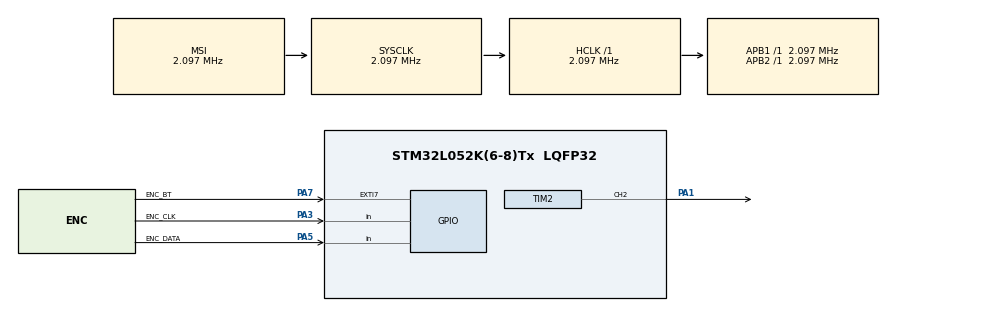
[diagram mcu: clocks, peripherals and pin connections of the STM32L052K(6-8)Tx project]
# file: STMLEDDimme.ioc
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Mcu.Family=STM32L0
Mcu.Name=STM32L052K(6-8)Tx
Mcu.Package=LQFP32
NVIC.EXTI4_15_IRQn=true\:0\:0\:false\:false\:true\:true\:true
NVIC.TIM2_IRQn=true\:0\:0\:false\:false\:true\:true\:true
PA1.Signal=S_TIM2_CH2
PA3.GPIO_Label=ENC_CLK
PA3.GPIO_PuPd=GPIO_PULLUP
PA3.Signal=GPIO_Input
PA5.GPIO_Label=ENC_DATA
PA5.GPIO_PuPd=GPIO_PULLUP
PA5.Signal=GPIO_Input
PA7.GPIO_Label=ENC_BT
PA7.GPIO_ModeDefaultEXTI=GPIO_MODE_IT_FALLING
PA7.GPIO_PuPd=GPIO_PULLUP
PA7.Signal=GPXTI7
ProjectManager.HeapSize=0x200
ProjectManager.StackSize=0x400
ProjectManager.TargetToolchain=STM32CubeIDE
RCC.AHBFreq_Value=2097000
RCC.APB1Freq_Value=2097000
RCC.APB1TimFreq_Value=2097000
RCC.APB2Freq_Value=2097000
RCC.APB2TimFreq_Value=2097000
RCC.HCLKFreq_Value=2097000
RCC.HSI16_VALUE=16000000
RCC.HSI48_VALUE=48000000
RCC.HSI_VALUE=16000000
RCC.LSE_VALUE=32768
RCC.MSI_VALUE=2097000
RCC.SYSCLKFreq_VALUE=2097000
RCC.VCOOutputFreq_Value=48000000
SH.S_TIM2_CH2.0=TIM2_CH2,PWM Generation2 CH2
TIM2.Channel-PWM\ Generation2\ CH2=TIM_CHANNEL_2
TIM2.Period=1000
TIM2.Prescaler=0
board=custom

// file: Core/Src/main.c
/* USER CODE BEGIN Header */
/**
  ******************************************************************************
  * @file           : main.c
  * @brief          : Main program body
  ******************************************************************************
  * @attention
  *
  * <h2><center>&copy; Copyright (c) 2020 STMicroelectronics.
  * All rights reserved.</center></h2>
  *
  * This software component is licensed by ST under BSD 3-Clause license,
  * the "License"; You may not use this file except in compliance with the
  * License. You may obtain a copy of the License at:
  *                        opensource.org/licenses/BSD-3-Clause
  *
  ******************************************************************************
  */
/* USER CODE END Header */
#include "main.h"

/* USER CODE BEGIN PD */
#define DEBOUNCE_TICKCOUNT 500 //1Tick = 1/1000 of CLK = ~2ms
/* USER CODE END PD */

TIM_HandleTypeDef htim2;

/* USER CODE BEGIN PV */
uint16_t debounceCounter = 0;//for debouncing button
uint8_t prevState = 0x11;//state is data<<4||clk, chosen to be easy to read
uint8_t stateCounter = 0;
uint8_t fwSequence[] = {0x11,0x01,0x00,0x10,0x11};
uint8_t bwSequence[] = {0x11,0x10,0x00,0x01,0x11};

int16_t pwmSet = 0;
uint8_t freqDivCnt = 0;

/* USER CODE END PV */

void SystemClock_Config(void);
static void MX_GPIO_Init(void);
static void MX_TIM2_Init(void);

int main(void)
{

  /* MCU Configuration--------------------------------------------------------*/

  /* Reset of all peripherals, Initializes the Flash interface and the Systick. */
  HAL_Init();

  /* Configure the system clock */
  SystemClock_Config();

  /* Initialize all configured peripherals */
  MX_GPIO_Init();
  MX_TIM2_Init();
  /* USER CODE BEGIN 2 */

  HAL_TIM_PWM_Start_IT(&htim2, TIM_CHANNEL_2);
  /* USER CODE END 2 */

  /* Infinite loop */
  while (1)
  {

  }
}

void SystemClock_Config(void)
{
  RCC_OscInitTypeDef RCC_OscInitStruct = {0};
  RCC_ClkInitTypeDef RCC_ClkInitStruct = {0};

  /** Configure the main internal regulator output voltage
  */
  __HAL_PWR_VOLTAGESCALING_CONFIG(PWR_REGULATOR_VOLTAGE_SCALE1);
  /** Initializes the RCC Oscillators according to the specified parameters
  * in the RCC_OscInitTypeDef structure.
  */
  RCC_OscInitStruct.OscillatorType = RCC_OSCILLATORTYPE_MSI;
  RCC_OscInitStruct.MSIState = RCC_MSI_ON;
  RCC_OscInitStruct.MSICalibrationValue = 0;
  RCC_OscInitStruct.MSIClockRange = RCC_MSIRANGE_5;
  RCC_OscInitStruct.PLL.PLLState = RCC_PLL_NONE;
  if (HAL_RCC_OscConfig(&RCC_OscInitStruct) != HAL_OK)
  {
    Error_Handler();
  }
  /** Initializes the CPU, AHB and APB buses clocks
  */
  RCC_ClkInitStruct.ClockType = RCC_CLOCKTYPE_HCLK|RCC_CLOCKTYPE_SYSCLK
                              |RCC_CLOCKTYPE_PCLK1|RCC_CLOCKTYPE_PCLK2;
  RCC_ClkInitStruct.SYSCLKSource = RCC_SYSCLKSOURCE_MSI;
  RCC_ClkInitStruct.AHBCLKDivider = RCC_SYSCLK_DIV1;
  RCC_ClkInitStruct.APB1CLKDivider = RCC_HCLK_DIV1;
  RCC_ClkInitStruct.APB2CLKDivider = RCC_HCLK_DIV1;

  if (HAL_RCC_ClockConfig(&RCC_ClkInitStruct, FLASH_LATENCY_0) != HAL_OK)
  {
    Error_Handler();
  }
}

static void MX_TIM2_Init(void)
{

  TIM_MasterConfigTypeDef sMasterConfig = {0};
  TIM_OC_InitTypeDef sConfigOC = {0};

  htim2.Instance = TIM2;
  htim2.Init.Prescaler = 0;
  htim2.Init.CounterMode = TIM_COUNTERMODE_UP;
  htim2.Init.Period = 1000;
  htim2.Init.ClockDivision = TIM_CLOCKDIVISION_DIV1;
  htim2.Init.AutoReloadPreload = TIM_AUTORELOAD_PRELOAD_DISABLE;
  if (HAL_TIM_PWM_Init(&htim2) != HAL_OK)
  {
    Error_Handler();
  }
  sMasterConfig.MasterOutputTrigger = TIM_TRGO_RESET;
  sMasterConfig.MasterSlaveMode = TIM_MASTERSLAVEMODE_DISABLE;
  if (HAL_TIMEx_MasterConfigSynchronization(&htim2, &sMasterConfig) != HAL_OK)
  {
    Error_Handler();
  }
  sConfigOC.OCMode = TIM_OCMODE_PWM1;
  sConfigOC.Pulse = 0;
  sConfigOC.OCPolarity = TIM_OCPOLARITY_HIGH;
  sConfigOC.OCFastMode = TIM_OCFAST_DISABLE;
  if (HAL_TIM_PWM_ConfigChannel(&htim2, &sConfigOC, TIM_CHANNEL_2) != HAL_OK)
  {
    Error_Handler();
  }
  HAL_TIM_MspPostInit(&htim2);

}

static void MX_GPIO_Init(void)
{
  GPIO_InitTypeDef GPIO_InitStruct = {0};

  /* GPIO Ports Clock Enable */
  __HAL_RCC_GPIOA_CLK_ENABLE();

  /*Configure GPIO pins : ENC_CLK_Pin ENC_DATA_Pin */
  GPIO_InitStruct.Pin = ENC_CLK_Pin|ENC_DATA_Pin;
  GPIO_InitStruct.Mode = GPIO_MODE_INPUT;
  GPIO_InitStruct.Pull = GPIO_PULLUP;
  HAL_GPIO_Init(GPIOA, &GPIO_InitStruct);

  /*Configure GPIO pin : ENC_BT_Pin */
  GPIO_InitStruct.Pin = ENC_BT_Pin;
  GPIO_InitStruct.Mode = GPIO_MODE_IT_FALLING;
  GPIO_InitStruct.Pull = GPIO_PULLUP;
  HAL_GPIO_Init(ENC_BT_GPIO_Port, &GPIO_InitStruct);

  /* EXTI interrupt init*/
  HAL_NVIC_SetPriority(EXTI4_15_IRQn, 0, 0);
  HAL_NVIC_EnableIRQ(EXTI4_15_IRQn);

}

/* USER CODE BEGIN 4 */
void HAL_TIM_PWM_PulseFinishedCallback(TIM_HandleTypeDef *htim)
{

	if(debounceCounter != 0)//use PWM Timer as timebase for debouncing (as well as for the state machine:)
	{
		debounceCounter -= 1;
	}

	freqDivCnt++;//variable used to realize slower clocking for slow pwm changes, makes things smooooooooth
	if(freqDivCnt%4==0)
	{
		if(pwmSet > htim->Instance->CCR2)
		{
			htim->Instance->CCR2++;
		}
		if(pwmSet < htim->Instance->CCR2)
		{
			htim->Instance->CCR2--;
		}
	}
	//process signals in worlds longest and worst state machine, contains possible illegal state transitions from fwSequence to bwSequence, dont wanna fix, but it works well
	//but no debouncing needed!!!!!
	uint8_t state = ((HAL_GPIO_ReadPin(ENC_DATA_GPIO_Port, ENC_DATA_Pin)==GPIO_PIN_SET?1:0) << 4) | (HAL_GPIO_ReadPin(ENC_CLK_GPIO_Port, ENC_CLK_Pin)==GPIO_PIN_SET?1:0);
	if(state != prevState)//encoder moved
	{
		if(prevState == fwSequence[stateCounter] && state == fwSequence[stateCounter+1])//moved "forwards"
		{
			stateCounter++;
			if(stateCounter == 4)//rotation completed
			{
				if(pwmSet + 50 < 1000)
				{
					pwmSet += 50;
				}
				else
				{
					pwmSet = 1000;//for clean max output, should the incrementing steps not add up to 1000
				}
				stateCounter = 0;
			}
		}
		else if(prevState == bwSequence[stateCounter] && state == bwSequence[stateCounter+1])//moved "backwards"
		{
			stateCounter++;
			if(stateCounter == 4)
			{
				if(pwmSet > 50)
				{
					pwmSet -= 50;
				}
				else
				{
					pwmSet = 0;//for clean 0 output, should decrementing steps not add up to 0;
				}
				stateCounter = 0;
			}
		}
		else//signals didn't follow predefined sequences, reset FSM
		{
			stateCounter = 0;
		}
		prevState = state;
	}

}

void HAL_GPIO_EXTI_Callback(uint16_t GPIO_Pin)//tested, works
{
	if(GPIO_Pin == ENC_BT_Pin)
	{
		if(debounceCounter == 0)
		{
			debounceCounter = DEBOUNCE_TICKCOUNT;
			if(pwmSet > 0)
			{
				pwmSet = 0;
			}
			else
			{
				pwmSet = 1000;
			}
		}
	}
}
/* USER CODE END 4 */

void Error_Handler(void)
{
}
